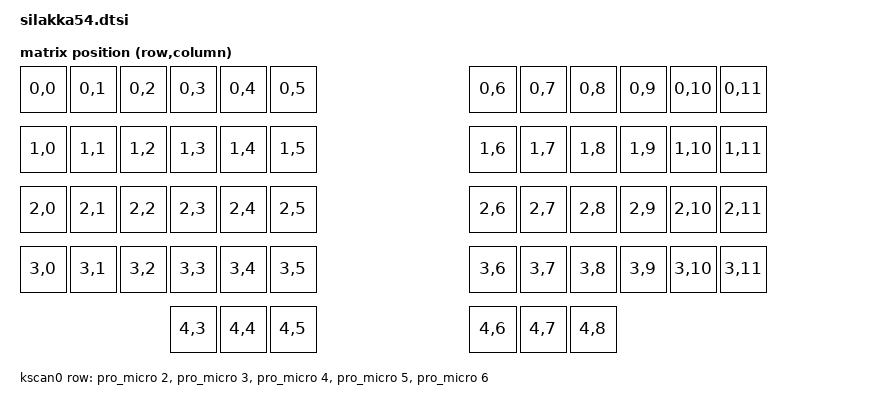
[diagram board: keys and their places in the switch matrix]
/*
 * Silakka54 split keyboard shield definition.
 */

#include <dt-bindings/zmk/matrix_transform.h>
#include <physical_layouts.dtsi>

/ {
    chosen {
        zmk,kscan = &kscan0;
        zmk,physical-layout = &silakka54_layout;
    };

    default_transform: keymap_transform_0 {
        compatible = "zmk,matrix-transform";
        columns = <12>;
        rows = <5>;
// | SW1  | SW2  | SW3  | SW4  | SW5  | SW6  |               | SW6  | SW5  | SW4  | SW3  | SW2  | SW1  |
// | SW13 | SW14 | SW15 | SW16 | SW17 | SW18 |               | SW18 | SW17 | SW16 | SW15 | SW14 | SW13 |
// | SW25 | SW26 | SW27 | SW28 | SW29 | SW30 |               | SW30 | SW29 | SW28 | SW27 | SW26 | SW25 |
// | SW37 | SW38 | SW39 | SW40 | SW41 | SW42 |               | SW42 | SW41 | SW40 | SW39 | SW38 | SW37 |
//                    | SW43 | SW44 | SW45 |               | SW45 | SW44 | SW43 |
        map = <
RC(0,0) RC(0,1) RC(0,2) RC(0,3) RC(0,4) RC(0,5)   RC(0,6) RC(0,7) RC(0,8) RC(0,9) RC(0,10) RC(0,11)
RC(1,0) RC(1,1) RC(1,2) RC(1,3) RC(1,4) RC(1,5)   RC(1,6) RC(1,7) RC(1,8) RC(1,9) RC(1,10) RC(1,11)
RC(2,0) RC(2,1) RC(2,2) RC(2,3) RC(2,4) RC(2,5)   RC(2,6) RC(2,7) RC(2,8) RC(2,9) RC(2,10) RC(2,11)
RC(3,0) RC(3,1) RC(3,2) RC(3,3) RC(3,4) RC(3,5)   RC(3,6) RC(3,7) RC(3,8) RC(3,9) RC(3,10) RC(3,11)
                      RC(4,3) RC(4,4) RC(4,5)   RC(4,6) RC(4,7) RC(4,8)
        >;
    };

    silakka54_layout: silakka54_layout {
        compatible = "zmk,physical-layout";
        display-name = "Default";
        keys
            = <&key_physical_attrs 100 100    0    0 0 0 0>
            , <&key_physical_attrs 100 100  100    0 0 0 0>
            , <&key_physical_attrs 100 100  200    0 0 0 0>
            , <&key_physical_attrs 100 100  300    0 0 0 0>
            , <&key_physical_attrs 100 100  400    0 0 0 0>
            , <&key_physical_attrs 100 100  500    0 0 0 0>
            , <&key_physical_attrs 100 100  900    0 0 0 0>
            , <&key_physical_attrs 100 100 1000    0 0 0 0>
            , <&key_physical_attrs 100 100 1100    0 0 0 0>
            , <&key_physical_attrs 100 100 1200    0 0 0 0>
            , <&key_physical_attrs 100 100 1300    0 0 0 0>
            , <&key_physical_attrs 100 100 1400    0 0 0 0>
            , <&key_physical_attrs 100 100    0  120 0 0 0>
            , <&key_physical_attrs 100 100  100  120 0 0 0>
            , <&key_physical_attrs 100 100  200  120 0 0 0>
            , <&key_physical_attrs 100 100  300  120 0 0 0>
            , <&key_physical_attrs 100 100  400  120 0 0 0>
            , <&key_physical_attrs 100 100  500  120 0 0 0>
            , <&key_physical_attrs 100 100  900  120 0 0 0>
            , <&key_physical_attrs 100 100 1000  120 0 0 0>
            , <&key_physical_attrs 100 100 1100  120 0 0 0>
            , <&key_physical_attrs 100 100 1200  120 0 0 0>
            , <&key_physical_attrs 100 100 1300  120 0 0 0>
            , <&key_physical_attrs 100 100 1400  120 0 0 0>
            , <&key_physical_attrs 100 100    0  240 0 0 0>
            , <&key_physical_attrs 100 100  100  240 0 0 0>
            , <&key_physical_attrs 100 100  200  240 0 0 0>
            , <&key_physical_attrs 100 100  300  240 0 0 0>
            , <&key_physical_attrs 100 100  400  240 0 0 0>
            , <&key_physical_attrs 100 100  500  240 0 0 0>
            , <&key_physical_attrs 100 100  900  240 0 0 0>
            , <&key_physical_attrs 100 100 1000  240 0 0 0>
            , <&key_physical_attrs 100 100 1100  240 0 0 0>
            , <&key_physical_attrs 100 100 1200  240 0 0 0>
            , <&key_physical_attrs 100 100 1300  240 0 0 0>
            , <&key_physical_attrs 100 100 1400  240 0 0 0>
            , <&key_physical_attrs 100 100    0  360 0 0 0>
            , <&key_physical_attrs 100 100  100  360 0 0 0>
            , <&key_physical_attrs 100 100  200  360 0 0 0>
            , <&key_physical_attrs 100 100  300  360 0 0 0>
            , <&key_physical_attrs 100 100  400  360 0 0 0>
            , <&key_physical_attrs 100 100  500  360 0 0 0>
            , <&key_physical_attrs 100 100  900  360 0 0 0>
            , <&key_physical_attrs 100 100 1000  360 0 0 0>
            , <&key_physical_attrs 100 100 1100  360 0 0 0>
            , <&key_physical_attrs 100 100 1200  360 0 0 0>
            , <&key_physical_attrs 100 100 1300  360 0 0 0>
            , <&key_physical_attrs 100 100 1400  360 0 0 0>
            , <&key_physical_attrs 100 100  300  480 0 0 0>
            , <&key_physical_attrs 100 100  400  480 0 0 0>
            , <&key_physical_attrs 100 100  500  480 0 0 0>
            , <&key_physical_attrs 100 100  900  480 0 0 0>
            , <&key_physical_attrs 100 100 1000  480 0 0 0>
            , <&key_physical_attrs 100 100 1100  480 0 0 0>
            ;
    };

    kscan0: kscan {
        compatible = "zmk,kscan-gpio-matrix";
        wakeup-source;

        diode-direction = "col2row";
        row-gpios
            = <&pro_micro 2 (GPIO_ACTIVE_HIGH | GPIO_PULL_DOWN)>
            , <&pro_micro 3 (GPIO_ACTIVE_HIGH | GPIO_PULL_DOWN)>
            , <&pro_micro 4 (GPIO_ACTIVE_HIGH | GPIO_PULL_DOWN)>
            , <&pro_micro 5 (GPIO_ACTIVE_HIGH | GPIO_PULL_DOWN)>
            , <&pro_micro 6 (GPIO_ACTIVE_HIGH | GPIO_PULL_DOWN)>
            ;
    };
};

&silakka54_layout {
    transform = <&default_transform>;
};
